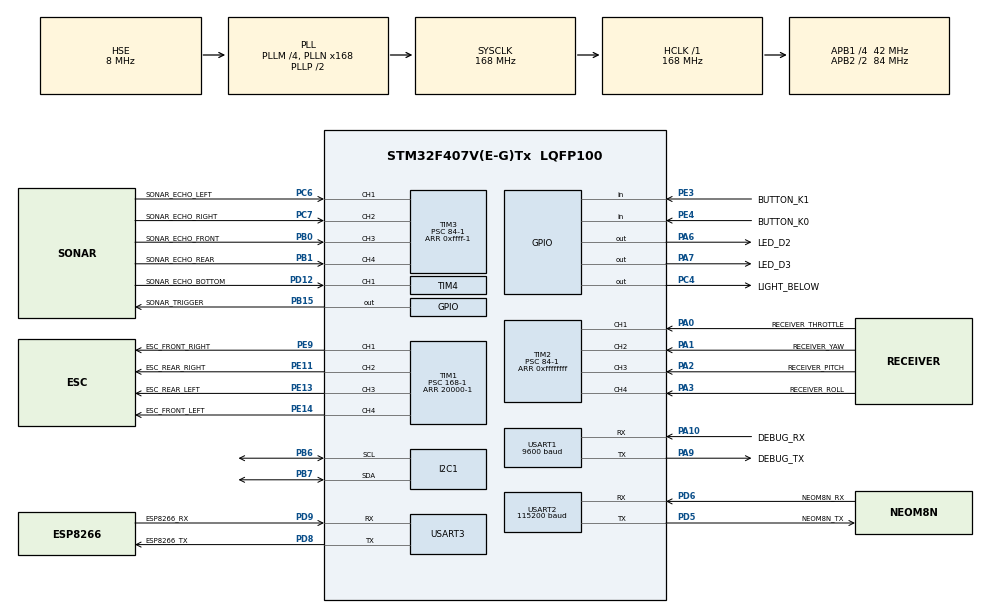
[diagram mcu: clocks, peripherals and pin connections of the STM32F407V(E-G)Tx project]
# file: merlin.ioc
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Dma.Request0=USART1_RX
Dma.Request1=USART1_TX
Dma.USART1_RX.0.Direction=DMA_PERIPH_TO_MEMORY
Dma.USART1_RX.0.FIFOMode=DMA_FIFOMODE_DISABLE
Dma.USART1_RX.0.Instance=DMA2_Stream2
Dma.USART1_RX.0.MemDataAlignment=DMA_MDATAALIGN_BYTE
Dma.USART1_RX.0.MemInc=DMA_MINC_ENABLE
Dma.USART1_RX.0.Mode=DMA_NORMAL
Dma.USART1_RX.0.PeriphDataAlignment=DMA_PDATAALIGN_BYTE
Dma.USART1_RX.0.PeriphInc=DMA_PINC_DISABLE
Dma.USART1_RX.0.Priority=DMA_PRIORITY_LOW
Dma.USART1_TX.1.Direction=DMA_MEMORY_TO_PERIPH
Dma.USART1_TX.1.FIFOMode=DMA_FIFOMODE_DISABLE
Dma.USART1_TX.1.Instance=DMA2_Stream7
Dma.USART1_TX.1.MemDataAlignment=DMA_MDATAALIGN_BYTE
Dma.USART1_TX.1.MemInc=DMA_MINC_ENABLE
Dma.USART1_TX.1.Mode=DMA_NORMAL
Dma.USART1_TX.1.PeriphDataAlignment=DMA_PDATAALIGN_BYTE
Dma.USART1_TX.1.PeriphInc=DMA_PINC_DISABLE
Dma.USART1_TX.1.Priority=DMA_PRIORITY_LOW
I2C1.I2C_Mode=I2C_Fast
Mcu.Family=STM32F4
Mcu.Name=STM32F407V(E-G)Tx
Mcu.Package=LQFP100
NVIC.DMA2_Stream2_IRQn=true\:0\:0\:false\:false\:true\:false\:true\:true
NVIC.DMA2_Stream7_IRQn=true\:0\:0\:false\:false\:true\:false\:true\:true
NVIC.PriorityGroup=NVIC_PRIORITYGROUP_4
NVIC.TIM1_CC_IRQn=true\:0\:0\:false\:false\:true\:true\:true\:true
NVIC.TIM3_IRQn=true\:0\:0\:false\:false\:true\:true\:true\:true
NVIC.TIM4_IRQn=true\:0\:0\:false\:false\:true\:true\:true\:true
NVIC.USART1_IRQn=true\:0\:0\:false\:false\:true\:true\:true\:true
NVIC.USART2_IRQn=true\:0\:0\:false\:false\:true\:true\:true\:true
NVIC.USART3_IRQn=true\:0\:0\:false\:false\:true\:true\:true\:true
PA0-WKUP.GPIO_Label=RECEIVER_THROTTLE
PA0-WKUP.Signal=S_TIM2_CH1_ETR
PA1.GPIO_Label=RECEIVER_YAW
PA1.Signal=S_TIM2_CH2
PA10.GPIO_Label=DEBUG_RX
PA10.Mode=Asynchronous
PA10.Signal=USART1_RX
PA13.Mode=Serial_Wire
PA13.Signal=SYS_JTMS-SWDIO
PA14.Mode=Serial_Wire
PA14.Signal=SYS_JTCK-SWCLK
PA2.GPIO_Label=RECEIVER_PITCH
PA2.Signal=S_TIM2_CH3
PA3.GPIO_Label=RECEIVER_ROLL
PA3.Signal=S_TIM2_CH4
PA6.GPIO_Label=LED_D2
PA6.PinState=GPIO_PIN_SET
PA6.Signal=GPIO_Output
PA7.GPIO_Label=LED_D3
PA7.PinState=GPIO_PIN_SET
PA7.Signal=GPIO_Output
PA9.GPIO_Label=DEBUG_TX
PA9.Mode=Asynchronous
PA9.Signal=USART1_TX
PB0.GPIO_Label=SONAR_ECHO_FRONT
PB0.Signal=S_TIM3_CH3
PB1.GPIO_Label=SONAR_ECHO_REAR
PB1.Signal=S_TIM3_CH4
PB15.GPIO_Label=SONAR_TRIGGER
PB15.Signal=GPIO_Output
PB6.Mode=I2C
PB6.Signal=I2C1_SCL
PB7.Mode=I2C
PB7.Signal=I2C1_SDA
PC14-OSC32_IN.Mode=LSE-External-Oscillator
PC14-OSC32_IN.Signal=RCC_OSC32_IN
PC15-OSC32_OUT.Mode=LSE-External-Oscillator
PC15-OSC32_OUT.Signal=RCC_OSC32_OUT
PC4.GPIO_Label=LIGHT_BELOW
PC4.PinState=GPIO_PIN_SET
PC4.Signal=GPIO_Output
PC6.GPIO_Label=SONAR_ECHO_LEFT
PC6.Signal=S_TIM3_CH1
PC7.GPIO_Label=SONAR_ECHO_RIGHT
PC7.Signal=S_TIM3_CH2
PD12.GPIO_Label=SONAR_ECHO_BOTTOM
PD12.GPIO_ModeDefaultPP=GPIO_MODE_AF_PP
PD12.GPIO_PuPd=GPIO_NOPULL
PD12.GPIO_Speed=GPIO_SPEED_FREQ_LOW
PD12.Signal=S_TIM4_CH1
PD5.GPIO_Label=NEOM8N_TX
PD5.Mode=Asynchronous
PD5.Signal=USART2_TX
PD6.GPIO_Label=NEOM8N_RX
PD6.Mode=Asynchronous
PD6.Signal=USART2_RX
PD8.GPIO_Label=ESP8266_TX
PD8.Mode=Asynchronous
PD8.Signal=USART3_TX
PD9.GPIO_Label=ESP8266_RX
PD9.Mode=Asynchronous
PD9.Signal=USART3_RX
PE11.GPIO_Label=ESC_REAR_RIGHT
PE11.Signal=S_TIM1_CH2
PE13.GPIO_Label=ESC_REAR_LEFT
PE13.Signal=S_TIM1_CH3
PE14.GPIO_Label=ESC_FRONT_LEFT
PE14.Signal=S_TIM1_CH4
PE3.GPIO_Label=BUTTON_K1
PE3.Signal=GPIO_Input
PE4.GPIO_Label=BUTTON_K0
PE4.Signal=GPIO_Input
PE9.GPIO_Label=ESC_FRONT_RIGHT
PE9.Signal=S_TIM1_CH1
PH0-OSC_IN.Mode=HSE-External-Oscillator
PH0-OSC_IN.Signal=RCC_OSC_IN
PH1-OSC_OUT.Mode=HSE-External-Oscillator
PH1-OSC_OUT.Signal=RCC_OSC_OUT
ProjectManager.HeapSize=0x200
ProjectManager.StackSize=0x400
ProjectManager.TargetToolchain=STM32CubeIDE
RCC.48MHZClocksFreq_Value=84000000
RCC.AHBFreq_Value=168000000
RCC.APB1CLKDivider=RCC_HCLK_DIV4
RCC.APB1Freq_Value=42000000
RCC.APB1TimFreq_Value=84000000
RCC.APB2CLKDivider=RCC_HCLK_DIV2
RCC.APB2Freq_Value=84000000
RCC.APB2TimFreq_Value=168000000
RCC.CortexFreq_Value=168000000
RCC.HCLKFreq_Value=168000000
RCC.HSE_VALUE=8000000
RCC.HSI_VALUE=16000000
RCC.PLLM=4
RCC.PLLN=168
RCC.PLLSourceVirtual=RCC_PLLSOURCE_HSE
RCC.SYSCLKFreq_VALUE=168000000
RCC.SYSCLKSource=RCC_SYSCLKSOURCE_PLLCLK
RCC.VCOOutputFreq_Value=336000000
SH.S_TIM1_CH1.0=TIM1_CH1,PWM Generation1 CH1
SH.S_TIM1_CH2.0=TIM1_CH2,PWM Generation2 CH2
SH.S_TIM1_CH3.0=TIM1_CH3,PWM Generation3 CH3
SH.S_TIM1_CH4.0=TIM1_CH4,PWM Generation4 CH4
SH.S_TIM2_CH1_ETR.0=TIM2_CH1,Input_Capture1_from_TI1
SH.S_TIM2_CH2.0=TIM2_CH2,Input_Capture2_from_TI2
SH.S_TIM2_CH3.0=TIM2_CH3,Input_Capture3_from_TI3
SH.S_TIM2_CH4.0=TIM2_CH4,Input_Capture4_from_TI4
SH.S_TIM3_CH1.0=TIM3_CH1,Input_Capture1_from_TI1
SH.S_TIM3_CH2.0=TIM3_CH2,Input_Capture2_from_TI2
SH.S_TIM3_CH3.0=TIM3_CH3,Input_Capture3_from_TI3
SH.S_TIM3_CH4.0=TIM3_CH4,Input_Capture4_from_TI4
SH.S_TIM4_CH1.0=TIM4_CH1,Input_Capture1_from_TI1
TIM1.Channel-PWM\ Generation1\ CH1=TIM_CHANNEL_1
TIM1.Channel-PWM\ Generation2\ CH2=TIM_CHANNEL_2
TIM1.Channel-PWM\ Generation3\ CH3=TIM_CHANNEL_3
TIM1.Channel-PWM\ Generation4\ CH4=TIM_CHANNEL_4
TIM1.Period=20000-1
TIM1.Prescaler=168-1
TIM2.Channel-Input_Capture1_from_TI1=TIM_CHANNEL_1
TIM2.Channel-Input_Capture2_from_TI2=TIM_CHANNEL_2
TIM2.Channel-Input_Capture3_from_TI3=TIM_CHANNEL_3
TIM2.Channel-Input_Capture4_from_TI4=TIM_CHANNEL_4
TIM2.Period=0xffffffff
TIM2.Prescaler=84-1
TIM3.Channel-Input_Capture1_from_TI1=TIM_CHANNEL_1
TIM3.Channel-Input_Capture2_from_TI2=TIM_CHANNEL_2
TIM3.Channel-Input_Capture3_from_TI3=TIM_CHANNEL_3
TIM3.Channel-Input_Capture4_from_TI4=TIM_CHANNEL_4
TIM3.Period=0xffff-1
TIM3.Prescaler=84-1
TIM4.Channel-Input_Capture1_from_TI1=TIM_CHANNEL_1
TIM4.Period=0xffff-1
TIM4.Prescaler=84-01
USART1.BaudRate=9600
USART1.VirtualMode=VM_ASYNC
USART2.BaudRate=115200
USART2.Mode=MODE_TX_RX
USART2.VirtualMode=VM_ASYNC
USART3.VirtualMode=VM_ASYNC
VP_TIM1_VS_ClockSourceINT.Mode=Internal
VP_TIM2_VS_ClockSourceINT.Mode=Internal
VP_TIM3_VS_ClockSourceINT.Mode=Internal
VP_TIM4_VS_ClockSourceINT.Mode=Internal
board=custom

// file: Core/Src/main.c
/* USER CODE BEGIN Header */
/**
 *******************************************************************************
 * @file   main.c
 * @author Lasha Valishvili (cardinal_tm)
 * @email  lvalishvili@icloud.com
 * @date   Apr 1, 2022
 *******************************************************************************
 **/
/* USER CODE END Header */
#include "main.h"
#include "dma.h"
#include "i2c.h"
#include "tim.h"
#include "usart.h"
#include "gpio.h"

/* USER CODE BEGIN Includes */
#include "sensors.h"
#include "receiver.h"

#include "mpu6050.h"
#include "bmp280.h"
#include "esp8266.h"
#include "hcsr04.h"
#include "adxl345.h"
//#include "gnss.h"
#include "flight.h"

/* USER CODE END Includes */

/* USER CODE BEGIN PV */
MPU6050_t MPU6050;

/* USER CODE END PV */

void SystemClock_Config(void);

/* USER CODE BEGIN 0 */

int _write(int file, char *ptr, int len)
{
	HAL_StatusTypeDef hstatus;
	hstatus = HAL_UART_Transmit(&huart2, (uint8_t*) ptr, len, HAL_MAX_DELAY);
	if (hstatus == HAL_OK)
		return len;
	else
		return 0;
}

void HAL_TIM_IC_CaptureCallback(TIM_HandleTypeDef *htim)
{
	HCSR04_CaptureCallback(htim);
	ReceiverCaptureCallback(htim);
}

/* USER CODE END 0 */

int main(void)
{

	/* MCU Configuration--------------------------------------------------------*/

	/* Reset of all peripherals, Initializes the Flash interface and the Systick. */
	HAL_Init();

	/* Configure the system clock */
	SystemClock_Config();

	/* Initialize all configured peripherals */
	MX_GPIO_Init();
	MX_I2C1_Init();
	MX_TIM1_Init();
	MX_TIM2_Init();
	MX_USART1_UART_Init();
	MX_USART2_UART_Init();
	MX_USART3_UART_Init();
	MX_DMA_Init();
	MX_TIM3_Init();
	MX_TIM4_Init();
	/* USER CODE BEGIN 2 */
	printf("Start Flight Controller (Merlin)\r\n");

	Sensors_Init();

	HAL_TIM_IC_Start_IT(&htim4, TIM_CHANNEL_1);

	HAL_Delay(100);

	Receiver_Init();

	Flight_Init();

	/* USER CODE END 2 */

	/* Infinite loop */
	while (1)
	{

		/* USER CODE BEGIN 3 */
		HCSR04_Read();
		Sensors_Read();

		printf("---------------------------------------------------------------\r\n");
		printf("HCSR04 - Distance: %u cm\r\n", sonarEchoDownDistance);
		printf("ACCEL - X: %.3f,  Y: %.3f, Z: %.3f\r\n", sensorAcc.X, sensorAcc.Y, sensorAcc.Z);
		printf("GYRO - X: %.3f,  Y: %.3f, Z: %.3f\r\n", sensorGyro.X, sensorGyro.Y, sensorGyro.Z);
		printf("BARO - Pressure: %.2f Pa, Temperature: %.2f °C, Humidity: %.2f, Altitude: %.2f m\r\n", sensorBaro.Pressure, sensorBaro.Temperature, sensorBaro.Humidity, sensorBaro.Altitude);
		printf("MAG - X: %.3f,  Y: %.3f, Z: %.3f\r\n", sensorMag.X, sensorMag.Y, sensorMag.Z);

		Flight_Control();

		HAL_Delay(30);
	}
	/* USER CODE END 3 */
}

void SystemClock_Config(void)
{
	RCC_OscInitTypeDef RCC_OscInitStruct =
	{ 0 };
	RCC_ClkInitTypeDef RCC_ClkInitStruct =
	{ 0 };

	/** Configure the main internal regulator output voltage
	 */
	__HAL_RCC_PWR_CLK_ENABLE();
	__HAL_PWR_VOLTAGESCALING_CONFIG(PWR_REGULATOR_VOLTAGE_SCALE1);

	/** Initializes the RCC Oscillators according to the specified parameters
	 * in the RCC_OscInitTypeDef structure.
	 */
	RCC_OscInitStruct.OscillatorType = RCC_OSCILLATORTYPE_HSE;
	RCC_OscInitStruct.HSEState = RCC_HSE_ON;
	RCC_OscInitStruct.PLL.PLLState = RCC_PLL_ON;
	RCC_OscInitStruct.PLL.PLLSource = RCC_PLLSOURCE_HSE;
	RCC_OscInitStruct.PLL.PLLM = 4;
	RCC_OscInitStruct.PLL.PLLN = 168;
	RCC_OscInitStruct.PLL.PLLP = RCC_PLLP_DIV2;
	RCC_OscInitStruct.PLL.PLLQ = 4;
	if (HAL_RCC_OscConfig(&RCC_OscInitStruct) != HAL_OK)
	{
		Error_Handler();
	}

	/** Initializes the CPU, AHB and APB buses clocks
	 */
	RCC_ClkInitStruct.ClockType = RCC_CLOCKTYPE_HCLK | RCC_CLOCKTYPE_SYSCLK | RCC_CLOCKTYPE_PCLK1 | RCC_CLOCKTYPE_PCLK2;
	RCC_ClkInitStruct.SYSCLKSource = RCC_SYSCLKSOURCE_PLLCLK;
	RCC_ClkInitStruct.AHBCLKDivider = RCC_SYSCLK_DIV1;
	RCC_ClkInitStruct.APB1CLKDivider = RCC_HCLK_DIV4;
	RCC_ClkInitStruct.APB2CLKDivider = RCC_HCLK_DIV2;

	if (HAL_RCC_ClockConfig(&RCC_ClkInitStruct, FLASH_LATENCY_5) != HAL_OK)
	{
		Error_Handler();
	}
}

void Error_Handler(void)
{
	__disable_irq();
	while (1)
	{
	}
}
